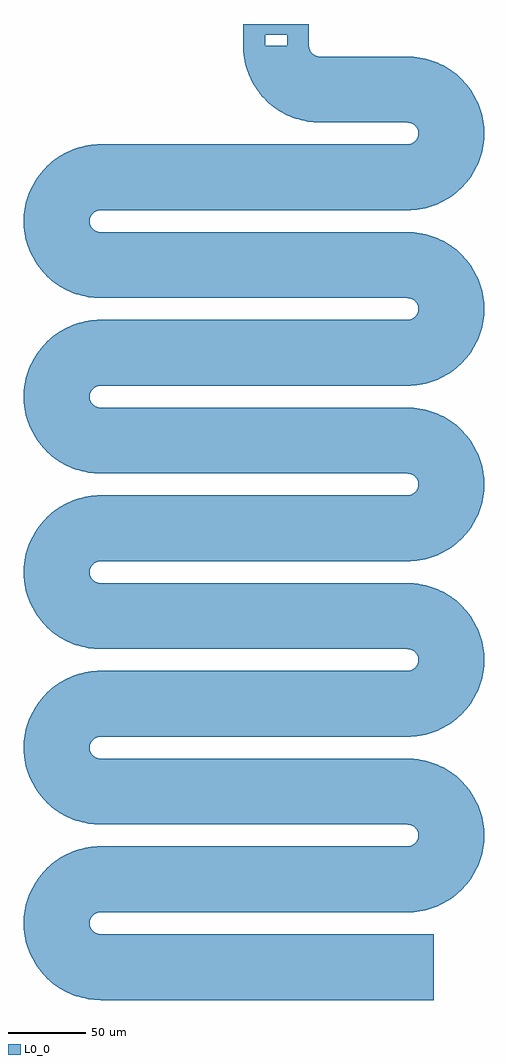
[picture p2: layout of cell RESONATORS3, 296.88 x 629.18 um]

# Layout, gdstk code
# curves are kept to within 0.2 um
import gdstk
lib = gdstk.Library(unit=1e-6, precision=1e-09)
def P(c, l, *ps):  # polygons
    for p in ps: c.add(gdstk.Polygon(p, *l))
L0_0 = (0, 0)

resonators3 = lib.new_cell('RESONATORS3')
P(resonators3, L0_0, [(1568.601,2586.369),(1353.354,2586.375),(1351.4,2586.733),(1349.86,2587.464),(1348.539,2588.542),(1347.515,2589.905),(1346.773,2591.748),(1346.568,2593.44),(1346.773,2595.133),(1347.515,2596.976),(1348.539,2598.339),(1349.86,2599.417),(1351.672,2600.232),(1353.354,2600.506),(1551.53,2600.511),(1559.47,2601.152),(1567.204,2603.059),(1572.749,2605.29),(1579.647,2609.273),(1585.817,2614.311),(1591.1,2620.273),(1594.395,2625.26),(1597.81,2632.456),(1599.939,2639.721),(1336.087,2639.721),(1328.891,2636.306),(1322.335,2631.781),(1316.59,2626.263),(1312.904,2621.558),(1308.921,2614.659),(1306.689,2609.114),(1305.142,2603.341),(1304.182,2595.433),(1304.182,2591.447),(1304.783,2585.5),(1306.689,2577.766),(1308.921,2572.221),(1310.773,2568.692),(1314.069,2563.705),(1316.59,2560.618),(1320.816,2556.391),(1323.904,2553.87),(1327.185,2551.606),(1332.42,2548.722),(1336.087,2547.16),(1341.794,2545.382),(1345.699,2544.584),(1351.646,2543.983),(1568.601,2543.943)],
  [(1600.026,2640.108),(1600.666,2644.042),(1601.027,2650.008),(1600.666,2655.975),(1600.026,2659.909),(1599.072,2663.779),(1597.066,2669.41),(1595.357,2673.011),(1592.265,2678.126),(1587.227,2684.296),(1582.834,2688.349),(1579.647,2690.744),(1574.532,2693.836),(1570.931,2695.545),(1565.301,2697.551),(1561.43,2698.505),(1555.513,2699.345),(1551.53,2699.505),(1353.639,2699.505),(1350.608,2700.188),(1304.562,2700.188),(1306.096,2692.805),(1308.921,2685.357),(1312.904,2678.459),(1317.942,2672.289),(1323.904,2667.006),(1330.637,2662.749),(1336.087,2660.296),(1343.738,2658.08),(1347.673,2657.44),(1353.639,2657.079),(1551.814,2657.074),(1553.497,2656.8),(1555.309,2655.985),(1556.629,2654.907),(1557.791,2653.294),(1558.395,2651.701),(1558.601,2650.008),(1558.395,2648.316),(1557.791,2646.722),(1556.822,2645.319),(1555.309,2644.032),(1553.769,2643.301),(1552.099,2642.96),(1353.639,2642.937),(1349.656,2642.777),(1343.738,2641.937),(1336.087,2639.721),(1599.939,2639.721)],
  [(1350.353,2700.315),(1348.539,2701.678),(1347.251,2703.545),(1346.62,2705.724),(1346.711,2707.991),(1347.515,2710.112),(1348.95,2711.869),(1350.867,2713.082),(1353.07,2713.624),(1551.53,2713.647),(1557.496,2714.008),(1563.375,2715.086),(1570.931,2717.608),(1577.984,2721.31),(1584.352,2726.095),(1589.87,2731.84),(1594.395,2738.396),(1597.81,2745.592),(1600.026,2753.244),(1600.988,2761.177),(1558.321,2761.177),(1557.506,2759.365),(1556.002,2757.667),(1554.037,2756.533),(1551.814,2756.079),(1353.639,2756.073),(1347.673,2755.712),(1341.794,2754.635),(1334.238,2752.113),(1330.637,2750.404),(1325.521,2747.312),(1319.351,2742.274),(1315.298,2737.88),(1312.904,2734.694),(1310.773,2731.325),(1308.103,2725.978),(1305.58,2718.422),(1304.503,2712.543),(1304.182,2708.569),(1304.562,2700.188)],
  [(1601.004,2762.01),(1600.866,2767.127),(1600.386,2771.084),(1598.479,2778.818),(1595.357,2786.147),(1592.265,2791.262),(1589.87,2794.448),(1584.352,2800.193),(1577.984,2804.979),(1570.931,2808.681),(1565.301,2810.687),(1561.43,2811.641),(1555.513,2812.481),(1551.53,2812.641),(1353.354,2812.647),(1351.4,2813.005),(1349.86,2813.736),(1348.346,2815.023),(1347.378,2816.426),(1346.711,2818.298),(1346.591,2820.281),(1346.932,2821.951),(1347.82,2823.729),(1304.306,2823.729),(1304.303,2815.729),(1305.142,2809.812),(1306.096,2805.941),(1308.921,2798.493),(1310.773,2794.964),(1314.069,2789.977),(1316.59,2786.89),(1320.816,2782.663),(1327.185,2777.878),(1334.238,2774.176),(1339.868,2772.17),(1343.738,2771.216),(1347.673,2770.576),(1353.639,2770.215),(1551.814,2770.21),(1554.816,2769.405),(1557.183,2767.392),(1558.458,2764.559),(1558.595,2762.86),(1558.321,2761.177),(1600.988,2761.177)],
  [(1347.986,2823.96),(1350.353,2825.973),(1353.354,2826.778),(1551.53,2826.783),(1557.496,2827.144),(1563.375,2828.222),(1569.082,2830),(1572.749,2831.562),(1579.647,2835.545),(1585.817,2840.583),(1588.579,2843.458),(1592.265,2848.163),(1596.248,2855.061),(1597.81,2858.728),(1599.588,2864.435),(1600.386,2868.34),(1600.987,2874.287),(1600.987,2878.273),(1600.486,2883.512),(1349.656,2883.512),(1551.814,2883.346),(1554.561,2882.669),(1556.629,2881.179),(1558.141,2878.788),(1558.595,2875.996),(1558.035,2873.509),(1556.629,2871.382),(1554.561,2869.892),(1551.814,2869.215),(1353.639,2869.209),(1347.673,2868.848),(1341.794,2867.771),(1334.238,2865.249),(1327.185,2861.547),(1320.816,2856.761),(1316.59,2852.535),(1311.805,2846.167),(1308.103,2839.114),(1305.58,2831.558),(1304.306,2823.729),(1347.82,2823.729)],
  [(1600.386,2884.22),(1598.479,2891.954),(1596.248,2897.499),(1592.265,2904.398),(1587.227,2910.568),(1581.265,2915.85),(1574.532,2920.108),(1569.082,2922.561),(1561.43,2924.777),(1555.513,2925.617),(1551.53,2925.777),(1353.354,2925.783),(1350.867,2926.343),(1348.95,2927.556),(1347.515,2929.313),(1346.66,2931.714),(1346.773,2934.541),(1348.162,2937.32),(1350.608,2939.237),(1353.354,2939.914),(1551.53,2939.919),(1557.496,2940.28),(1563.375,2941.358),(1567.204,2942.467),(1574.532,2945.589),(1581.265,2949.846),(1584.352,2952.367),(1588.579,2956.594),(1310.221,2956.594),(1307.359,2950.4),(1305.142,2942.749),(1304.306,2936.865),(1304.142,2932.848),(1304.503,2926.882),(1305.142,2922.948),(1306.689,2917.174),(1308.103,2913.447),(1310.773,2908.1),(1312.904,2904.731),(1315.298,2901.544),(1319.351,2897.151),(1325.521,2892.113),(1330.637,2889.021),(1334.238,2887.312),(1339.868,2885.306),(1343.738,2884.352),(1349.656,2883.512),(1600.486,2883.512)],
  [(1589.87,2958.112),(1593.364,2962.962),(1596.248,2968.197),(1597.81,2971.864),(1599.588,2977.571),(1600.666,2983.45),(1601.027,2989.416),(1600.666,2995.383),(1599.588,3001.262),(1597.81,3006.968),(1595.357,3012.419),(1592.265,3017.534),(1588.579,3022.239),(1584.352,3026.465),(1579.647,3030.152),(1574.532,3033.244),(1569.082,3035.697),(1305.229,3035.697),(1307.359,3028.432),(1310.773,3021.236),(1315.298,3014.68),(1319.351,3010.287),(1325.521,3005.249),(1332.42,3001.266),(1337.965,2999.035),(1345.699,2997.128),(1353.639,2996.487),(1551.814,2996.482),(1554.301,2995.922),(1556.428,2994.516),(1557.918,2992.448),(1558.578,2989.985),(1558.237,2987.177),(1556.822,2984.727),(1554.561,2983.028),(1551.814,2982.351),(1353.639,2982.345),(1347.673,2981.984),(1341.794,2980.907),(1336.087,2979.129),(1330.637,2976.676),(1325.521,2973.584),(1320.816,2969.897),(1316.59,2965.671),(1312.904,2960.966),(1310.221,2956.594),(1588.579,2956.594)],
  [(1567.204,3036.366),(1559.47,3038.272),(1551.53,3038.913),(1353.07,3038.936),(1351.4,3039.277),(1349.622,3040.165),(1348.346,3041.295),(1347.378,3042.698),(1346.773,3044.292),(1346.568,3045.984),(1346.773,3047.677),(1347.515,3049.52),(1348.539,3050.883),(1349.86,3051.961),(1351.672,3052.776),(1353.354,3053.05),(1551.53,3053.055),(1557.496,3053.416),(1561.43,3054.056),(1569.082,3056.272),(1576.278,3059.687),(1582.834,3064.212),(1588.579,3069.73),(1593.364,3076.098),(1597.066,3083.151),(1599.588,3090.707),(1600.734,3097.26),(1556.219,3097.26),(1554.037,3095.941),(1551.53,3095.481),(1353.639,3095.481),(1345.699,3094.84),(1337.965,3092.934),(1330.637,3089.812),(1325.521,3086.72),(1322.335,3084.325),(1316.59,3078.807),(1311.805,3072.439),(1308.103,3065.386),(1305.58,3057.83),(1304.503,3051.951),(1304.182,3047.977),(1304.303,3042.001),(1305.229,3035.697),(1569.082,3035.697)],
  [(1600.866,3098.569),(1600.866,3106.535),(1599.588,3114.398),(1597.066,3121.954),(1594.395,3127.301),(1591.1,3132.287),(1585.817,3138.25),(1579.647,3143.288),(1572.749,3147.27),(1565.301,3150.095),(1561.43,3151.049),(1555.513,3151.889),(1493.658,3152.192),(1491.787,3152.859),(1490.384,3153.828),(1489.097,3155.341),(1488.281,3157.153),(1488.002,3159.12),(1488.002,3173.12),(1445.576,3173.12),(1445.576,3159.12),(1459.718,3159.12),(1459.718,3166.12),(1473.86,3166.12),(1473.86,3159.12),(1445.576,3159.12),(1446.217,3151.18),(1447.53,3145.349),(1450.355,3137.901),(1453.239,3132.666),(1456.732,3127.816),(1462.25,3122.071),(1466.955,3118.385),(1473.854,3114.402),(1477.521,3112.84),(1483.227,3111.062),(1491.09,3109.784),(1552.944,3109.48),(1554.816,3108.813),(1556.428,3107.652),(1557.653,3106.088),(1558.395,3104.245),(1558.595,3102.268),(1558.237,3100.313),(1557.506,3098.773),(1556.219,3097.26),(1600.734,3097.26)])

lib.write_gds('RESONATORS3.gds')
